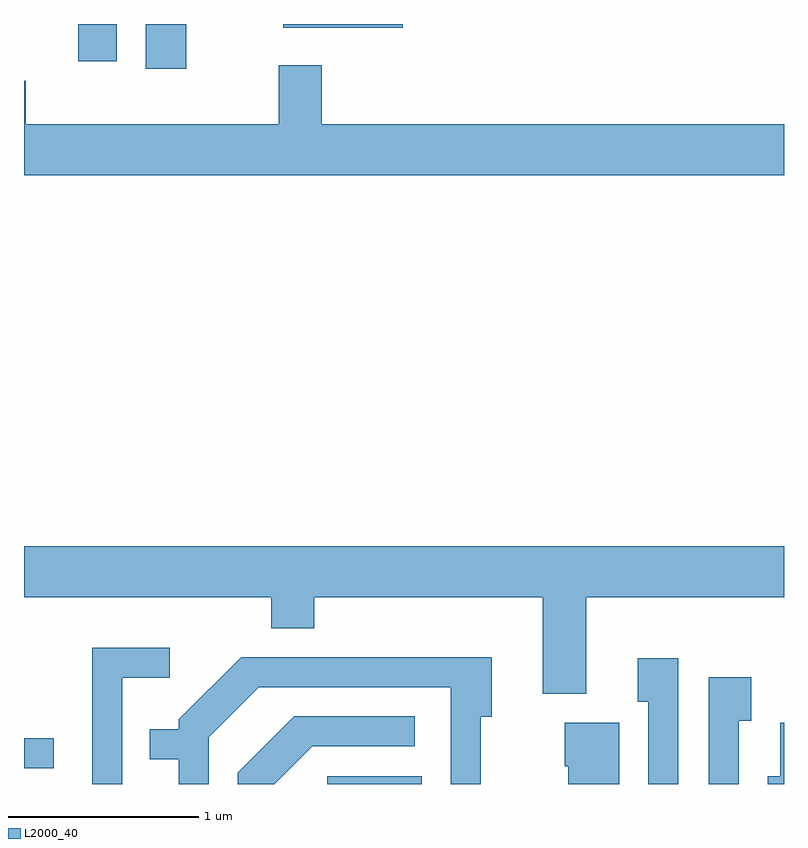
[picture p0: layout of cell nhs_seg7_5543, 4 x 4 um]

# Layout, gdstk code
import gdstk
lib = gdstk.Library(unit=1e-6, precision=1e-09)
def R(c, l, rs):  # rectangles x0, y0, x1, y1
    for r in rs: c.add(gdstk.rectangle(r[:2], r[2:], *l))
def P(c, l, *ps):  # polygons
    for p in ps: c.add(gdstk.Polygon(p, *l))
L2000_40 = (2000, 40)

nhs_seg7_5543 = lib.new_cell('nhs_seg7_5543')
R(nhs_seg7_5543, L2000_40, [(357.208,1682.252,357.704,1682.294), (355.611,1682.336,355.768,1682.494), (356.251,1686.016,356.464,1686.252), (355.896,1686.056,356.099,1686.252)])
P(nhs_seg7_5543, L2000_40, [(357.604,1686.252),(356.636,1686.252),(356.636,1686.251),(356.976,1686.251),(356.976,1686.231),(357.604,1686.231)],
  [(359.611,1685.724),(357.179,1685.724),(357.179,1686.034),(356.951,1686.034),(356.951,1685.724),(355.619,1685.724),(355.619,1685.954),(355.611,1685.954),(355.611,1685.456),(359.611,1685.456)],
  [(358.569,1683.236),(359.611,1683.236),(359.611,1683.504),(355.611,1683.504),(355.611,1683.236),(356.911,1683.236),(356.911,1683.071),(357.139,1683.071),(357.139,1683.236),(358.341,1683.236),(358.341,1682.726),(358.569,1682.726)],
  [(356.129,1682.811),(356.378,1682.811),(356.378,1682.969),(355.971,1682.969),(355.971,1682.252),(356.129,1682.252)],
  [(356.584,1682.499),(356.847,1682.761),(357.856,1682.761),(357.856,1682.252),(358.014,1682.252),(358.014,1682.606),(358.074,1682.606),(358.074,1682.919),(356.754,1682.919),(356.426,1682.592),(356.426,1682.539),(356.273,1682.539),(356.273,1682.381),(356.426,1682.381),(356.426,1682.252),(356.584,1682.252)],
  [(359.054,1682.914),(358.841,1682.914),(358.841,1682.686),(358.896,1682.686),(358.896,1682.252),(359.054,1682.252)],
  [(359.374,1682.586),(359.439,1682.586),(359.439,1682.814),(359.216,1682.814),(359.216,1682.252),(359.374,1682.252)],
  [(357.127,1682.451),(357.668,1682.451),(357.668,1682.609),(357.034,1682.609),(356.736,1682.312),(356.736,1682.252),(356.927,1682.252)],
  [(358.744,1682.574),(358.456,1682.574),(358.456,1682.346),(358.476,1682.346),(358.476,1682.252),(358.744,1682.252)],
  [(359.611,1682.574),(359.591,1682.574),(359.591,1682.294),(359.526,1682.294),(359.526,1682.252),(359.611,1682.252)])

lib.write_gds('nhs_seg7_5543.gds')
